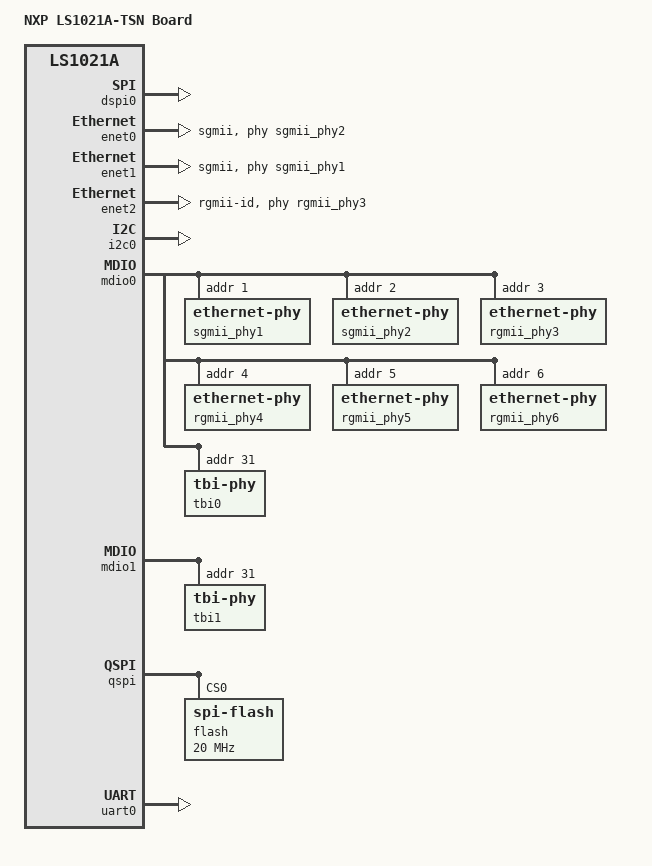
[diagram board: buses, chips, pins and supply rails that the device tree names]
// SPDX-License-Identifier: GPL-2.0
/* Copyright 2016-2018 NXP Semiconductors
 * Copyright 2019 Vladimir Oltean <olteanv@gmail.com>
 */

/dts-v1/;
#include "ls1021a.dtsi"

/ {
	model = "NXP LS1021A-TSN Board";

	aliases {
		enet0-sgmii-phy = &sgmii_phy2;
		enet1-sgmii-phy = &sgmii_phy1;
		spi0 = &qspi;
		spi1 = &dspi1;
		eth0 = &enet0;
		eth1 = &enet1;
		eth2 = &enet2;
	};
};

&dspi0 {
	bus-num = <0>;
	status = "okay";

};

&enet0 {
	tbi-handle = <&tbi0>;
	phy-handle = <&sgmii_phy2>;
	phy-mode = "sgmii";
	status = "okay";
};

&enet1 {
	tbi-handle = <&tbi1>;
	phy-handle = <&sgmii_phy1>;
	phy-mode = "sgmii";
	status = "okay";
};

/* RGMII delays added via PCB traces */
&enet2 {
	phy-mode = "rgmii-id";
	phy-handle = <&rgmii_phy3>;
	status = "okay";
};

&i2c0 {
	status = "okay";
};

&mdio0 {
	/* AR8031 */
	sgmii_phy1: ethernet-phy@1 {
		reg = <0x1>;
	};

	/* AR8031 */
	sgmii_phy2: ethernet-phy@2 {
		reg = <0x2>;
	};

	/* BCM5464 quad PHY */
	rgmii_phy3: ethernet-phy@3 {
		reg = <0x3>;
	};

	rgmii_phy4: ethernet-phy@4 {
		reg = <0x4>;
	};

	rgmii_phy5: ethernet-phy@5 {
		reg = <0x5>;
	};

	rgmii_phy6: ethernet-phy@6 {
		reg = <0x6>;
	};

	/* SGMII PCS for enet0 */
	tbi0: tbi-phy@1f {
		reg = <0x1f>;
		device_type = "tbi-phy";
	};
};

&mdio1 {
	/* SGMII PCS for enet1 */
	tbi1: tbi-phy@1f {
		reg = <0x1f>;
		device_type = "tbi-phy";
	};
};

&qspi {
	bus-num = <0>;
	status = "okay";

	flash@0 {
		compatible = "spi-flash";
		spi-max-frequency = <20000000>;
		reg = <0>;
	};
};

&uart0 {
	status = "okay";
};
